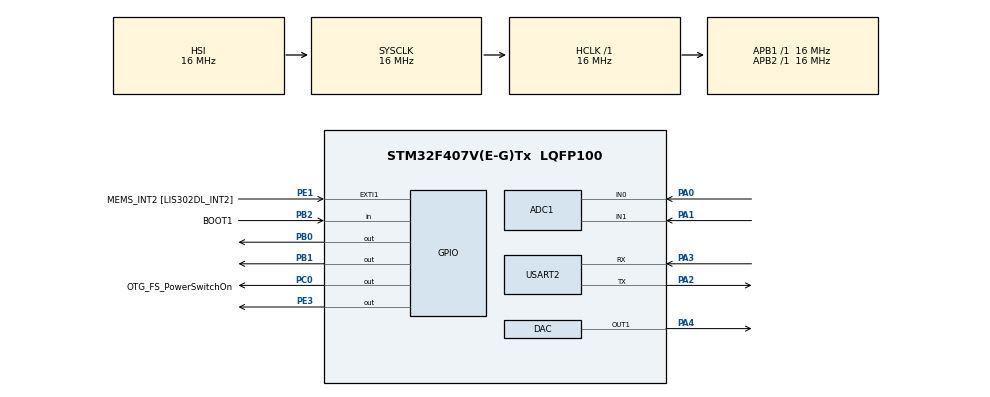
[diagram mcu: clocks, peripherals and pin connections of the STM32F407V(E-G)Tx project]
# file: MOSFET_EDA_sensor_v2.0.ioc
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ADC1.Channel-0\#ChannelRegularConversion=ADC_CHANNEL_0
ADC1.Channel-1\#ChannelRegularConversion=ADC_CHANNEL_1
ADC1.ContinuousConvMode=ENABLE
ADC1.DMAContinuousRequests=ENABLE
ADC1.NbrOfConversion=2
ADC1.NbrOfConversionFlag=1
ADC1.Rank-0\#ChannelRegularConversion=1
ADC1.Rank-1\#ChannelRegularConversion=2
ADC1.SamplingTime-0\#ChannelRegularConversion=ADC_SAMPLETIME_112CYCLES
ADC1.SamplingTime-1\#ChannelRegularConversion=ADC_SAMPLETIME_112CYCLES
ADC1.master=1
Dma.ADC1.0.Direction=DMA_PERIPH_TO_MEMORY
Dma.ADC1.0.FIFOMode=DMA_FIFOMODE_DISABLE
Dma.ADC1.0.Instance=DMA2_Stream0
Dma.ADC1.0.MemDataAlignment=DMA_MDATAALIGN_HALFWORD
Dma.ADC1.0.MemInc=DMA_MINC_ENABLE
Dma.ADC1.0.Mode=DMA_CIRCULAR
Dma.ADC1.0.PeriphDataAlignment=DMA_PDATAALIGN_HALFWORD
Dma.ADC1.0.PeriphInc=DMA_PINC_DISABLE
Dma.ADC1.0.Priority=DMA_PRIORITY_LOW
Dma.Request0=ADC1
Mcu.Family=STM32F4
Mcu.Name=STM32F407V(E-G)Tx
Mcu.Package=LQFP100
NVIC.DMA2_Stream0_IRQn=true\:0\:0\:false\:false\:true\:false\:true\:true
NVIC.PriorityGroup=NVIC_PRIORITYGROUP_0
NVIC.TIM3_IRQn=true\:0\:0\:false\:false\:true\:true\:true\:true
PA0-WKUP.Signal=ADCx_IN0
PA1.Signal=ADCx_IN1
PA10.GPIO_Label=OTG_FS_ID
PA10.GPIO_Mode=GPIO_MODE_AF_PP
PA10.GPIO_PuPd=GPIO_NOPULL
PA10.GPIO_Speed=GPIO_SPEED_FREQ_LOW
PA10.Signal=USB_OTG_FS_ID
PA11.GPIO_Label=OTG_FS_DM
PA11.GPIO_Mode=GPIO_MODE_AF_PP
PA11.GPIO_PuPd=GPIO_NOPULL
PA11.GPIO_Speed=GPIO_SPEED_FREQ_LOW
PA11.Signal=USB_OTG_FS_DM
PA12.GPIO_Label=OTG_FS_DP
PA12.GPIO_Mode=GPIO_MODE_AF_PP
PA12.GPIO_PuPd=GPIO_NOPULL
PA12.GPIO_Speed=GPIO_SPEED_FREQ_LOW
PA12.Signal=USB_OTG_FS_DP
PA13.GPIO_Label=SWDIO
PA13.Mode=Serial_Wire
PA13.Signal=SYS_JTMS-SWDIO
PA14.GPIO_Label=SWCLK
PA14.Mode=Serial_Wire
PA14.Signal=SYS_JTCK-SWCLK
PA2.Mode=Asynchronous
PA2.Signal=USART2_TX
PA3.Mode=Asynchronous
PA3.Signal=USART2_RX
PA4.Signal=COMP_DAC1_group
PA5.GPIO_Label=SPI1_SCK [LIS302DL_SCL/SPC]
PA5.GPIO_Mode=GPIO_MODE_AF_PP
PA5.GPIO_PuPd=GPIO_NOPULL
PA5.GPIO_Speed=GPIO_SPEED_FREQ_LOW
PA5.Signal=SPI1_SCK
PA6.GPIO_Label=SPI1_MISO [LIS302DL_SDO]
PA6.GPIO_Mode=GPIO_MODE_AF_PP
PA6.GPIO_PuPd=GPIO_NOPULL
PA6.GPIO_Speed=GPIO_SPEED_FREQ_LOW
PA6.Signal=SPI1_MISO
PA7.GPIO_Label=SPI1_MOSI [LIS302DL_SDA/SDI/SDO]
PA7.GPIO_Mode=GPIO_MODE_AF_PP
PA7.GPIO_PuPd=GPIO_NOPULL
PA7.GPIO_Speed=GPIO_SPEED_FREQ_LOW
PA7.Signal=SPI1_MOSI
PA9.GPIO_Label=VBUS_FS
PA9.GPIO_Mode=GPIO_MODE_INPUT
PA9.GPIO_PuPd=GPIO_NOPULL
PA9.Signal=USB_OTG_FS_VBUS
PB0.Signal=GPIO_Output
PB1.Signal=GPIO_Output
PB10.GPIO_Label=CLK_IN [MP45DT02_CLK]
PB10.GPIO_Mode=GPIO_MODE_AF_PP
PB10.GPIO_PuPd=GPIO_NOPULL
PB10.GPIO_Speed=GPIO_SPEED_FREQ_LOW
PB10.Signal=I2S2_CK
PB2.GPIO_Label=BOOT1
PB2.GPIO_Mode=GPIO_MODE_INPUT
PB2.GPIO_PuPd=GPIO_NOPULL
PB2.Signal=GPIO_Input
PB3.GPIO_Label=SWO
PB3.Signal=SYS_JTDO-SWO
PB6.GPIO_Label=Audio_SCL [CS43L22_SCL]
PB6.GPIO_Mode=GPIO_MODE_AF_OD
PB6.GPIO_PuPd=GPIO_NOPULL
PB6.GPIO_Speed=GPIO_SPEED_FREQ_LOW
PB6.Signal=I2C1_SCL
PB9.GPIO_Label=Audio_SDA [CS43L22_SDA]
PB9.GPIO_Mode=GPIO_MODE_AF_OD
PB9.GPIO_PuPd=GPIO_NOPULL
PB9.GPIO_Speed=GPIO_SPEED_FREQ_LOW
PB9.Signal=I2C1_SDA
PC0.GPIO_Label=OTG_FS_PowerSwitchOn
PC0.GPIO_PuPd=GPIO_NOPULL
PC0.GPIO_Speed=GPIO_SPEED_FREQ_LOW
PC0.PinState=GPIO_PIN_SET
PC0.Signal=GPIO_Output
PC10.GPIO_Label=I2S3_SCK [CS43L22_SCLK]
PC10.GPIO_Mode=GPIO_MODE_AF_PP
PC10.GPIO_PuPd=GPIO_NOPULL
PC10.GPIO_Speed=GPIO_SPEED_FREQ_LOW
PC10.Signal=I2S3_CK
PC12.GPIO_Label=I2S3_SD [CS43L22_SDIN]
PC12.GPIO_Mode=GPIO_MODE_AF_PP
PC12.GPIO_PuPd=GPIO_NOPULL
PC12.GPIO_Speed=GPIO_SPEED_FREQ_LOW
PC12.Signal=I2S3_SD
PC14-OSC32_IN.GPIO_Label=PC14-OSC32_IN
PC14-OSC32_IN.Signal=RCC_OSC32_IN
PC15-OSC32_OUT.GPIO_Label=PC15-OSC32_OUT
PC15-OSC32_OUT.Signal=RCC_OSC32_OUT
PC3.GPIO_Label=PDM_OUT [MP45DT02_DOUT]
PC3.GPIO_Mode=GPIO_MODE_AF_PP
PC3.GPIO_PuPd=GPIO_NOPULL
PC3.GPIO_Speed=GPIO_SPEED_FREQ_LOW
PC3.Signal=I2S2_SD
PC7.GPIO_Label=I2S3_MCK [CS43L22_MCLK]
PC7.GPIO_Mode=GPIO_MODE_AF_PP
PC7.GPIO_PuPd=GPIO_NOPULL
PC7.GPIO_Speed=GPIO_SPEED_FREQ_LOW
PC7.Signal=I2S3_MCK
PE1.GPIO_Label=MEMS_INT2 [LIS302DL_INT2]
PE1.GPIO_ModeDefaultEXTI=GPIO_MODE_EVT_RISING
PE1.GPIO_PuPd=GPIO_NOPULL
PE1.Signal=GPXTI1
PE3.Signal=GPIO_Output
PH0-OSC_IN.GPIO_Label=PH0-OSC_IN
PH0-OSC_IN.Signal=RCC_OSC_IN
PH1-OSC_OUT.GPIO_Label=PH1-OSC_OUT
PH1-OSC_OUT.Signal=RCC_OSC_OUT
ProjectManager.HeapSize=0x200
ProjectManager.StackSize=0x400
ProjectManager.TargetToolchain=STM32CubeIDE
RCC.48MHZClocksFreq_Value=14285714.285714285
RCC.AHBFreq_Value=16000000
RCC.APB1Freq_Value=16000000
RCC.APB1TimFreq_Value=16000000
RCC.APB2Freq_Value=16000000
RCC.APB2TimFreq_Value=16000000
RCC.CortexFreq_Value=16000000
RCC.HCLKFreq_Value=16000000
RCC.HSE_VALUE=8000000
RCC.HSI_VALUE=16000000
RCC.LSE_VALUE=32768
RCC.PLLM=8
RCC.PLLN=50
RCC.PLLP=RCC_PLLP_DIV4
RCC.PLLQ=7
RCC.SYSCLKFreq_VALUE=16000000
RCC.VCOOutputFreq_Value=100000000
SH.ADCx_IN0.0=ADC1_IN0,IN0
SH.ADCx_IN1.0=ADC1_IN1,IN1
SH.COMP_DAC1_group.0=DAC_OUT1,DAC_OUT1
TIM3.Period=49
TIM3.Prescaler=3200
USART2.VirtualMode=VM_ASYNC
VP_TIM3_VS_ClockSourceINT.Mode=Internal
board=STM32F407G-DISC1

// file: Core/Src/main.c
/* USER CODE BEGIN Header */
/**
  ******************************************************************************
  * @file           : main.c
  * @brief          : Main program body
  ******************************************************************************
  * @attention
  *
  * Copyright (c) 2024 STMicroelectronics.
  * All rights reserved.
  *
  * This software is licensed under terms that can be found in the LICENSE file
  * in the root directory of this software component.
  * If no LICENSE file comes with this software, it is provided AS-IS.
  *
  ******************************************************************************
  */
/* USER CODE END Header */
#include "main.h"
#include "adc.h"
#include "dac.h"
#include "dma.h"
#include "tim.h"
#include "usart.h"
#include "gpio.h"

/* USER CODE BEGIN PD */
#define fs					100//hz

/* USER CODE END PD */

/* USER CODE BEGIN PV */
float ms = 0;
uint8_t sec = 0;
uint16_t min = 0;
uint16_t ms_idx = 0;

uint16_t ADC_value[2] = {0,};
float fetEDA_LPF = 0;
float fetEDA_Vin = 0;

uint16_t DAC_value = 0;

uint8_t Ids_measure_flag = 1;
/* USER CODE END PV */

void SystemClock_Config(void);

int main(void)
{

  /* MCU Configuration--------------------------------------------------------*/

  /* Reset of all peripherals, Initializes the Flash interface and the Systick. */
  HAL_Init();

  /* Configure the system clock */
  SystemClock_Config();

  /* Initialize all configured peripherals */
  MX_GPIO_Init();
  MX_DMA_Init();
  MX_ADC1_Init();
  MX_DAC_Init();
  MX_TIM3_Init();
  MX_USART2_UART_Init();
  /* USER CODE BEGIN 2 */
  HAL_ADC_Start_DMA(&hadc1, &ADC_value[0], 2);
  MOSFET_EDA_Measure_Ids();

  HAL_TIM_Base_Start_IT(&htim3);
//  MOSFET_EDA_Measure_Ids();

  /* USER CODE END 2 */

  /* Infinite loop */
  while (1)
  {

  }
}

void SystemClock_Config(void)
{
  RCC_OscInitTypeDef RCC_OscInitStruct = {0};
  RCC_ClkInitTypeDef RCC_ClkInitStruct = {0};

  /** Configure the main internal regulator output voltage
  */
  __HAL_RCC_PWR_CLK_ENABLE();
  __HAL_PWR_VOLTAGESCALING_CONFIG(PWR_REGULATOR_VOLTAGE_SCALE1);

  /** Initializes the RCC Oscillators according to the specified parameters
  * in the RCC_OscInitTypeDef structure.
  */
  RCC_OscInitStruct.OscillatorType = RCC_OSCILLATORTYPE_HSI;
  RCC_OscInitStruct.HSIState = RCC_HSI_ON;
  RCC_OscInitStruct.HSICalibrationValue = RCC_HSICALIBRATION_DEFAULT;
  RCC_OscInitStruct.PLL.PLLState = RCC_PLL_NONE;
  if (HAL_RCC_OscConfig(&RCC_OscInitStruct) != HAL_OK)
  {
    Error_Handler();
  }

  /** Initializes the CPU, AHB and APB buses clocks
  */
  RCC_ClkInitStruct.ClockType = RCC_CLOCKTYPE_HCLK|RCC_CLOCKTYPE_SYSCLK
                              |RCC_CLOCKTYPE_PCLK1|RCC_CLOCKTYPE_PCLK2;
  RCC_ClkInitStruct.SYSCLKSource = RCC_SYSCLKSOURCE_HSI;
  RCC_ClkInitStruct.AHBCLKDivider = RCC_SYSCLK_DIV1;
  RCC_ClkInitStruct.APB1CLKDivider = RCC_HCLK_DIV1;
  RCC_ClkInitStruct.APB2CLKDivider = RCC_HCLK_DIV1;

  if (HAL_RCC_ClockConfig(&RCC_ClkInitStruct, FLASH_LATENCY_0) != HAL_OK)
  {
    Error_Handler();
  }
}

/* USER CODE BEGIN 4 */
int _write(int32_t file, uint8_t *ptr, int32_t len)
{
	HAL_UART_Transmit(&huart2, ptr, len, 20);

	return len;
}

void HAL_TIM_PeriodElapsedCallback(TIM_HandleTypeDef *htim)
{
	if(htim->Instance == TIM3)
	{
		fetEDA_LPF = (float)ADC_value[0]/4096 * 3;
		fetEDA_Vin = (float)ADC_value[1]/4096 * 3;
		printf("%dm %.2fs. fetEDA_LPF = %.4fv, fetEDA_Vin = %.4fv\r\n", min, sec+ms, fetEDA_LPF, fetEDA_Vin);

		ms = (float)ms_idx/fs;

		if(ms_idx >= fs)
		{
			ms_idx = 0;
			sec++;

			if(sec >= 60)
			{
				sec = 0;
				min++;
			}
		}
		ms_idx++;
	}
}

void MOSFET_EDA_Measure_Ids(void)
{

	float fetEDA_Rfeed[2] = {1000000, 100000};
	float fetEDA_Ids[2][4096] = {0,};

//	HAL_DAC_SetValue(&hdac, DAC_CHANNEL_1, DAC_ALIGN_12B_R, 0);
//	HAL_DAC_Start(&hdac, DAC_CHANNEL_1);

//	HAL_Delay(1000);

	for(int fetEDA_Rfeed_idx = 0; fetEDA_Rfeed_idx<2; fetEDA_Rfeed_idx++)
	{
		if(fetEDA_Rfeed_idx == 0)
		{
			  HAL_GPIO_WritePin(GPIOB, GPIO_PIN_0, GPIO_PIN_RESET);
			  HAL_GPIO_WritePin(GPIOB, GPIO_PIN_1, GPIO_PIN_SET);
		}
		else if(fetEDA_Rfeed_idx == 1)
		{
			  HAL_GPIO_WritePin(GPIOB, GPIO_PIN_0, GPIO_PIN_SET);
			  HAL_GPIO_WritePin(GPIOB, GPIO_PIN_1, GPIO_PIN_SET);
		}
		for(DAC_value = 0; DAC_value < 4096; DAC_value++)
		{
//			HAL_DAC_SetValue(&hdac, DAC_CHANNEL_1, DAC_ALIGN_12B_R, DAC_value);
//			HAL_DAC_Start(&hdac, DAC_CHANNEL_1);
			HAL_Delay(1);

			fetEDA_LPF = (float)ADC_value[0]/4096 * 3;
			fetEDA_Vin = (float)ADC_value[1]/4096 * 3;

			fetEDA_Ids[fetEDA_Rfeed_idx][DAC_value] = (fetEDA_LPF-fetEDA_Vin)*1000000 / fetEDA_Rfeed[fetEDA_Rfeed_idx];
			printf("%d. fetEDA_Rfeed = %.0fohm, fetEDA_LPF = %.4v, fetEDA_Vin = %.4v, fetEDA_Ids = %.4uA\r\n", fetEDA_Rfeed_idx+1, fetEDA_Rfeed[fetEDA_Rfeed_idx], fetEDA_LPF, fetEDA_Vin, fetEDA_Ids[fetEDA_Rfeed_idx][DAC_value]);
		}
	}
}
/* USER CODE END 4 */

void Error_Handler(void)
{
  __disable_irq();
  while (1)
  {
  }
}
